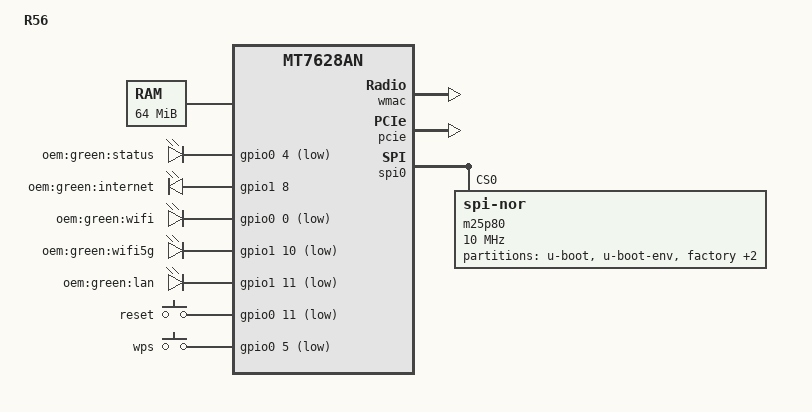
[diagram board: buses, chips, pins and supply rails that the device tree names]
/dts-v1/;

#include "mt7628an.dtsi"

#include <dt-bindings/input/input.h>
#include <dt-bindings/gpio/gpio.h>

/ {
	compatible = "OEM,MT7628", "mediatek,mt7628an-soc";
	model = "R56";

	chosen {
		bootargs = "console=ttyS0,115200";
	};

	memory@0 {
		device_type = "memory";
		reg = <0x0 0x4000000>;
	};

	gpio-leds {
		compatible = "gpio-leds";
		status {
			label = "oem:green:status";
			gpios = <&gpio0 4 GPIO_ACTIVE_LOW>;
		};

		internet {
			label = "oem:green:internet";
			gpios = <&gpio1 8 GPIO_ACTIVE_HIGH>;
		};

		wifi {
			label = "oem:green:wifi";
			gpios = <&gpio0 0 GPIO_ACTIVE_LOW>;
		};

		wifi5g {
			label = "oem:green:wifi5g";
			gpios = <&gpio1 10 GPIO_ACTIVE_LOW>;
		};

		lan {
			label = "oem:green:lan";
			gpios = <&gpio1 11 GPIO_ACTIVE_LOW>;
		};
	};

	gpio-keys-polled {
		compatible = "gpio-keys-polled";
		#address-cells = <1>;
		#size-cells = <0>;
		poll-interval = <20>;
		reset {
			label = "reset";
			gpios = <&gpio0 11 GPIO_ACTIVE_LOW>;
			linux,code = <KEY_RESTART>;
		};

		wps {
			label = "wps";
			gpios = <&gpio0 5 GPIO_ACTIVE_LOW>;
			linux,code = <KEY_WPS_BUTTON>;
		};
	};
};

&ethernet {
	mtd-mac-address = <&bdinfo 0xDE00>;
	mediatek,port-map = "wllll";
};

&pinctrl {
	state_default: pinctrl0 {
		gpio {
			ralink,group = "refclk", "wled_an", "gpio", "spi cs1";
			ralink,function = "gpio";
		};
	};
};

&wmac {
	status = "okay";
};

&pcie {
	status = "okay";
};

&spi0 {
	status = "okay";

	m25p80@0 {
		#address-cells = <1>;
		#size-cells = <1>;
		compatible = "jedec,spi-nor";
		reg = <0>;
		spi-max-frequency = <10000000>;
		m25p,chunked-io = <32>;

		partition@0 {
			label = "u-boot";
			reg = <0x0 0x30000>;
		};

		partition@30000 {
			label = "u-boot-env";
			reg = <0x30000 0x10000>;
		};

		factory: partition@40000 {
			label = "factory";
			reg = <0x40000 0x10000>;
		};

		bdinfo: partition@ff0000 {
			label = "bdinfo";
			reg = <0x7f0000 0x10000>;
		};

		partition@50000 {
			label = "firmware";
			reg = <0x50000 0x7A0000>;
		};
	};
};
